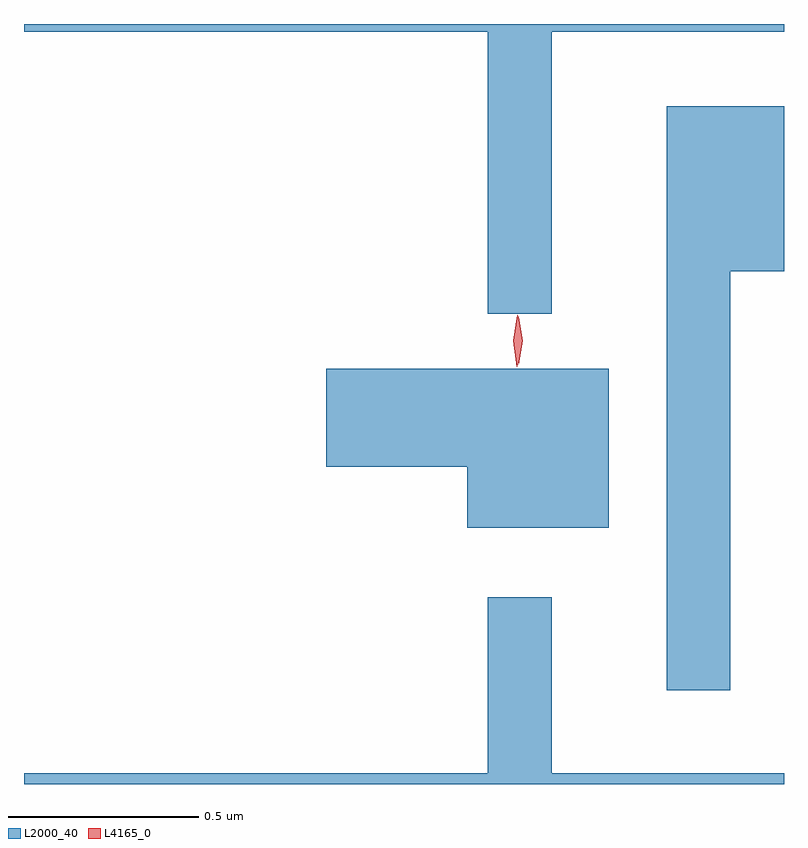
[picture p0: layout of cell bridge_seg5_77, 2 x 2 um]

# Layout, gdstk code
import gdstk
lib = gdstk.Library(unit=1e-6, precision=1e-09)
def P(c, l, *ps):  # polygons
    for p in ps: c.add(gdstk.Polygon(p, *l))
L2000_40 = (2000, 40)
L4165_0 = (4165, 0)

bridge_seg5_77 = lib.new_cell('bridge_seg5_77')
P(bridge_seg5_77, L2000_40, [(1304.799,1527.836),(1305.41,1527.836),(1305.41,1527.856),(1303.41,1527.856),(1303.41,1527.836),(1304.631,1527.836),(1304.631,1527.093),(1304.799,1527.093)],
  [(1305.269,1527.206),(1305.41,1527.206),(1305.41,1527.639),(1305.101,1527.639),(1305.101,1526.103),(1305.269,1526.103)],
  [(1304.949,1526.949),(1304.206,1526.949),(1304.206,1526.691),(1304.576,1526.691),(1304.576,1526.531),(1304.949,1526.531)],
  [(1305.41,1525.884),(1304.799,1525.884),(1304.799,1526.348),(1304.631,1526.348),(1304.631,1525.884),(1303.41,1525.884),(1303.41,1525.856),(1305.41,1525.856)])
P(bridge_seg5_77, L4165_0, [(1304.707,1526.954),(1304.707,1526.954),(1304.698,1527.022),(1304.708,1527.09),(1304.709,1527.09),(1304.709,1527.09),(1304.718,1527.022),(1304.708,1526.954)],
  [(1304.712,1526.96),(1304.712,1526.96),(1304.702,1527.023),(1304.712,1527.086),(1304.712,1527.087),(1304.712,1527.086),(1304.722,1527.023),(1304.712,1526.96)])

lib.write_gds('bridge_seg5_77.gds')
